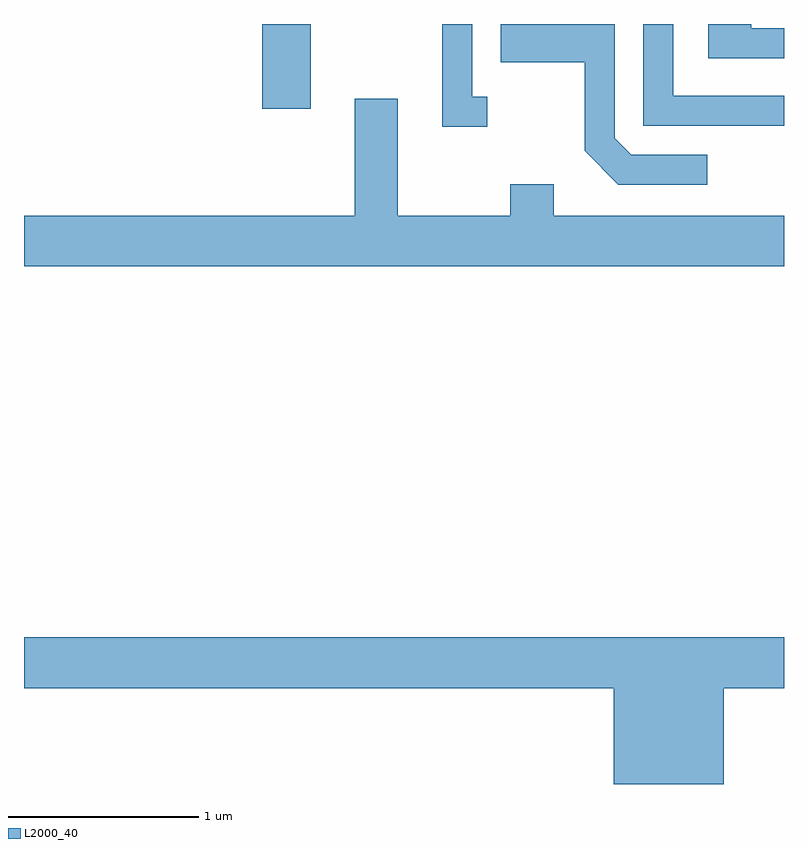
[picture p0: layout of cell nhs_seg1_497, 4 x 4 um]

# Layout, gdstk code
import gdstk
lib = gdstk.Library(unit=1e-6, precision=1e-09)
def R(c, l, rs):  # rectangles x0, y0, x1, y1
    for r in rs: c.add(gdstk.rectangle(r[:2], r[2:], *l))
def P(c, l, *ps):  # polygons
    for p in ps: c.add(gdstk.Polygon(p, *l))
L2000_40 = (2000, 40)

nhs_seg1_497 = lib.new_cell('nhs_seg1_497')
R(nhs_seg1_497, L2000_40, [(200.866,929.266,201.119,929.712)])
P(nhs_seg1_497, L2000_40, [(202.048,929.329),(201.969,929.329),(201.969,929.712),(201.811,929.712),(201.811,929.171),(202.048,929.171)],
  [(203.611,929.689),(203.439,929.689),(203.439,929.712),(203.211,929.712),(203.211,929.531),(203.611,929.531)],
  [(203.208,929.024),(202.807,929.024),(202.719,929.112),(202.719,929.712),(202.121,929.712),(202.121,929.511),(202.561,929.511),(202.561,929.044),(202.739,928.866),(203.208,928.866)],
  [(203.611,929.334),(203.029,929.334),(203.029,929.712),(202.871,929.712),(202.871,929.176),(203.611,929.176)],
  [(203.611,928.704),(202.399,928.704),(202.399,928.869),(202.171,928.869),(202.171,928.704),(201.579,928.704),(201.579,929.319),(201.351,929.319),(201.351,928.704),(199.611,928.704),(199.611,928.436),(203.611,928.436)],
  [(203.294,926.216),(203.611,926.216),(203.611,926.484),(199.611,926.484),(199.611,926.216),(202.716,926.216),(202.716,925.712),(203.294,925.712)])

lib.write_gds('nhs_seg1_497.gds')
